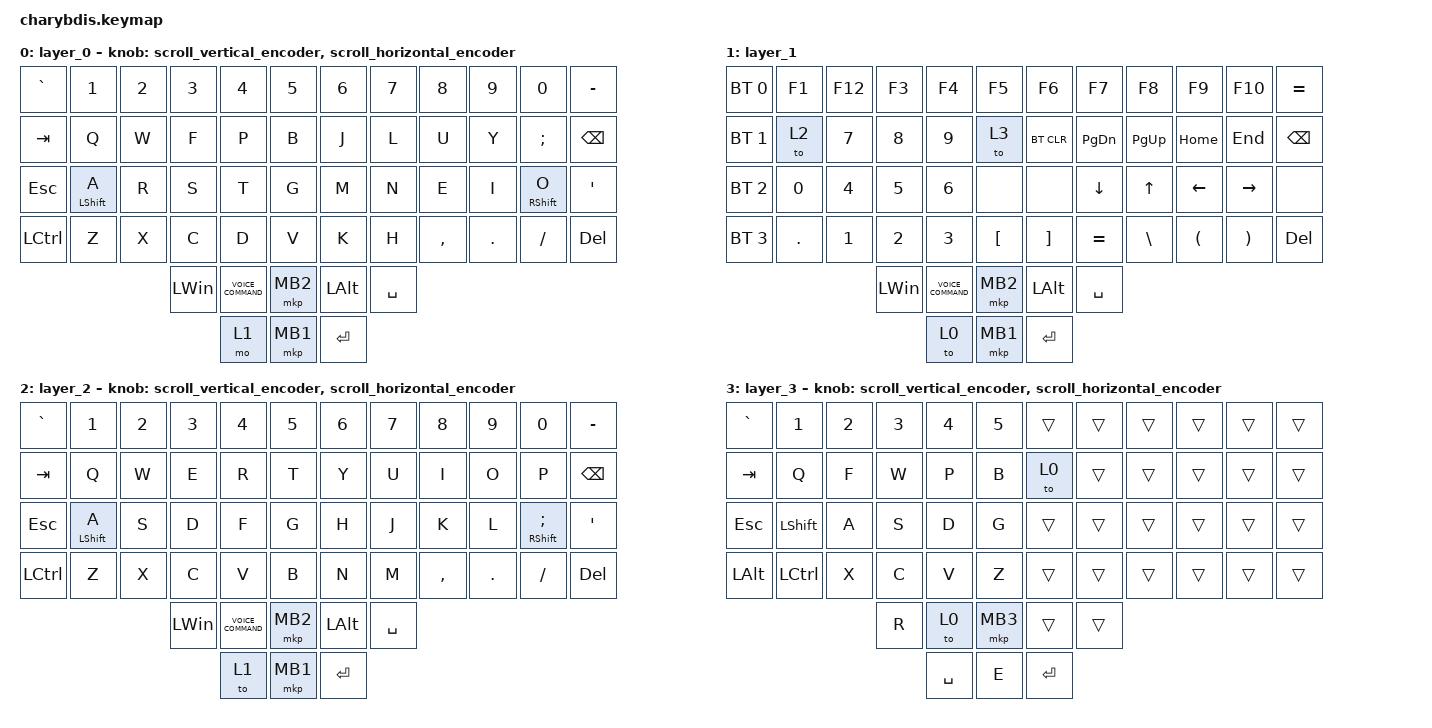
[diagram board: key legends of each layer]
// Must precede <dt-bindings/zmk/pointing.h>, which only defines these if unset.
#define ZMK_POINTING_DEFAULT_MOVE_VAL 1000 // 600
#define ZMK_POINTING_DEFAULT_SCRL_VAL 12   // 10

#include <behaviors.dtsi>
#include <dt-bindings/zmk/bt.h>
#include <dt-bindings/zmk/keys.h>
#include <dt-bindings/zmk/rgb.h>
#include <dt-bindings/zmk/outputs.h>
#include <dt-bindings/zmk/pointing.h>
#include <dt-bindings/zmk/mouse.h>
#include <dt-bindings/zmk/input_transform.h>
#include <input/processors.dtsi>
#include <zephyr/dt-bindings/input/input-event-codes.h>


&lt {
    tapping-term-ms = <200>;
    flavor = "balanced";
    quick-tap-ms = <150>;
};

// Home-row shift on A and O / ; (index-1 key of each home row), matching the
// Iris and Corne. "balanced" is ZMK's equivalent of QMK PERMISSIVE_HOLD: a real
// chord shifts instantly, a roll still types both letters.
// require-prior-idle-ms is deliberately NOT set -- it swallows Shift when you
// capitalise right after a space.
&mt {
    tapping-term-ms = <200>;
    flavor = "balanced";
    quick-tap-ms = <100>;
};

&mmv_input_listener { input-processors = <&zip_xy_scaler 2 1>; };

&msc_input_listener { input-processors = <&zip_scroll_scaler 2 1>; };

// Physical trackball (on the right/central half).
&charybdis_listener {
    // Same 2x pointer scaling as the emulated &mmv listener.
    input-processors = <&zip_xy_scaler 2 1>;

    // Layer 1 makes the trackball a scroll wheel, replacing the old
    // trackball-bindings = <&tsl>. Divisor 10 matches tsl scale_factor 10;
    // the mapper sends Y to the wheel and X to the horizontal wheel. Y is
    // inverted so rolling the ball down scrolls down, without touching the
    // pointer direction used on the other layers.
    scroller {
        layers = <1>;
        input-processors = <&zip_xy_transform (INPUT_TRANSFORM_Y_INVERT)>, <&zip_xy_scaler 1 10>, <&zip_xy_to_scroll_mapper>;
    };
};

&msc {
    acceleration-exponent = <0>;      // 0
    time-to-max-speed-ms = <100>;       // 300
    delay-ms = <0>;                   // 0
};

&mmv {
    time-to-max-speed-ms = <500>;
    acceleration-exponent = <1>;
    trigger-period-ms = <16>;
};

/ {
  // 上下滚动编码器行为
    scroll_vertical_encoder: scroll_vertical_encoder {
        compatible = "zmk,behavior-sensor-rotate";
        #sensor-binding-cells = <0>;
        bindings = <&msc SCRL_DOWN>, <&msc SCRL_UP>;
        tap-ms = <100>;
    };

    // 左右滚动编码器行为
    scroll_horizontal_encoder: scroll_horizontal_encoder {
        compatible = "zmk,behavior-sensor-rotate";
        #sensor-binding-cells = <0>;
        bindings = <&msc SCRL_LEFT>, <&msc SCRL_RIGHT>;
        tap-ms = <100>;
    };

behaviors {       
    };

   
   keymap {
        compatible = "zmk,keymap";

        layer_0 {
            bindings = <
&kp GRAVE       &kp N1     &kp N2   &kp N3      &kp N4              &kp N5      &kp N6         &kp N7      &kp N8     &kp N9            &kp N0    &kp MINUS
&kp TAB         &kp Q      &kp W    &kp F       &kp P               &kp B       &kp J          &kp L       &kp U      &kp Y             &kp SEMI  &kp BACKSPACE
&kp ESC         &mt LSHFT A &kp R   &kp S       &kp T               &kp G       &kp M          &kp N       &kp E      &kp I             &mt RSHFT O &kp SQT
&kp LCTRL       &kp Z      &kp X    &kp C       &kp D               &kp V       &kp K          &kp H       &kp COMMA  &kp PERIOD        &kp FSLH  &kp DEL
                                    &kp LWIN    &kp C_VOICE_COMMAND &mkp MB2    &kp LEFT_ALT   &kp SPACE
                                                &mo 1               &mkp MB1    &kp ENTER
            >;
             sensor-bindings = <&scroll_vertical_encoder>,   // 编码器1：上下滚动
                             <&scroll_horizontal_encoder>;  // 编码器2：左右滚动

        };
// ... rest of layers remain same 


        layer_1 {
            bindings = <
&bt BT_SEL 0    &kp F1           &kp F12           &kp F3           &kp F4              &kp F5       &kp F6         &kp F7       &kp F8          &kp F9             &kp F10   &kp EQUAL 
&bt BT_SEL 1    &to 2            &kp N7           &kp N8           &kp N9              &to 3        &bt BT_CLR     &kp PG_DN    &kp PG_UP       &kp HOME           &kp END   &kp BACKSPACE
&bt BT_SEL 2    &kp N0           &kp N4           &kp N5           &kp N6              &none        &none          &kp DOWN     &kp UP          &kp LEFT           &kp RIGHT &none
&bt BT_SEL 3    &kp PERIOD       &kp N1           &kp N2           &kp N3              &kp LBKT     &kp RBKT       &kp EQUAL    &kp BSLH        &kp LPAR           &kp RPAR  &kp DEL
                                                  &kp LWIN         &kp C_VOICE_COMMAND &mkp MB2     &kp LEFT_ALT   &kp SPACE
                                                                   &to 0               &mkp MB1     &kp ENTER
            >;

          
        };

        layer_2 {
            bindings = <
&kp GRAVE       &kp N1     &kp N2  &kp N3   &kp N4              &kp N5      &kp N6         &kp N7     &kp N8     &kp N9            &kp N0    &kp MINUS
&kp TAB         &kp Q      &kp W   &kp E    &kp R               &kp T       &kp Y          &kp U      &kp I      &kp O             &kp P     &kp BACKSPACE
&kp ESC         &mt LSHFT A &kp S  &kp D    &kp F               &kp G       &kp H          &kp J      &kp K      &kp L             &mt RSHFT SEMI &kp SQT
&kp LCTRL       &kp Z      &kp X   &kp C    &kp V               &kp B       &kp N          &kp M      &kp COMMA  &kp PERIOD        &kp FSLH  &kp DEL
                                   &kp LWIN &kp C_VOICE_COMMAND &mkp MB2    &kp LEFT_ALT   &kp SPACE
                                            &to 1               &mkp MB1    &kp ENTER
            >;
             sensor-bindings = <&scroll_vertical_encoder>,
                             <&scroll_horizontal_encoder>;
        };

        layer_3 {
            // FPS Gaming layer — WASD on left, mouse buttons on thumbs, right side transparent
            bindings = <
&kp GRAVE      &kp N1      &kp N2  &kp N3    &kp N4      &kp N5        &trans         &trans      &trans     &trans            &trans    &trans
&kp TAB        &kp Q       &kp F   &kp W     &kp P       &kp B         &to 0          &trans      &trans     &trans            &trans    &trans
&kp ESC        &kp LSHFT   &kp A   &kp S     &kp D       &kp G         &trans         &trans      &trans     &trans            &trans    &trans
&kp LALT       &kp LCTRL   &kp X   &kp C     &kp V       &kp Z         &trans         &trans      &trans     &trans            &trans    &trans
                                   &kp R     &to 0       &mkp MB3      &trans         &trans
                                             &kp SPACE   &kp E         &kp ENTER
            >;
             sensor-bindings = <&scroll_vertical_encoder>,
                             <&scroll_horizontal_encoder>;
        };

        /* Mouse {
            bindings = <
&none        &none         &none         &none         &none      &none         &none       &none      &none         &none         &none         &none
&none        &bt BT_SEL 0  &bt BT_SEL 1  &bt BT_SEL 3  &none      &bt BT_CLR    &bt BT_CLR  &none      &bt BT_SEL 2  &bt BT_SEL 1  &bt BT_SEL 0  &none
&none        &trans        &trans        &mkp MCLK     &trans     &none         &none       &trans     &mkp MCLK     &trans        &trans        &none
&bootloader  &trans        &mkp RCLK     &mo 4         &mkp LCLK  &mo 5         &mo 5       &mkp LCLK  &mo 4         &mkp RCLK     &trans        &bootloader
                                         &mo 5         &mkp LCLK  &mkp RCLK     &mkp RCLK   &mkp LCLK
                                                       &none      &trans        &trans
            >;

            
        };

        layer_4 {
            bindings = <
&trans  &trans  &trans     &trans     &trans     &trans       &trans     &trans     &trans     &trans     &trans  &trans
&trans  &trans  &trans     &trans     &trans     &trans       &trans     &trans     &trans     &trans     &trans  &trans
&trans  &trans  &trans     &mkp MCLK  &trans     &trans       &trans     &trans     &mkp MCLK  &trans     &trans  &trans
&trans  &trans  &mkp RCLK  &trans     &mkp LCLK  &trans       &trans     &mkp LCLK  &trans     &mkp RCLK  &trans  &trans
                           &trans     &mkp LCLK  &mkp RCLK    &mkp RCLK  &mkp LCLK
                                      &trans     &trans       &trans
            >;
                
                
               
        };

        layer_5 {
            bindings = <
&trans  &trans  &trans     &trans     &trans     &trans       &trans     &trans     &trans     &trans     &trans  &trans
&trans  &trans  &trans     &trans     &trans     &trans       &trans     &trans     &trans     &trans     &trans  &trans
&trans  &trans  &trans     &mkp MCLK  &trans     &trans       &trans     &trans     &mkp MCLK  &trans     &trans  &trans
&trans  &trans  &mkp RCLK  &trans     &mkp LCLK  &trans       &trans     &mkp LCLK  &trans     &mkp RCLK  &trans  &trans
                           &trans     &mkp LCLK  &mkp RCLK    &mkp RCLK  &mkp LCLK
                                      &trans     &trans       &trans
            >;
                
                
        };*/
    };
};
